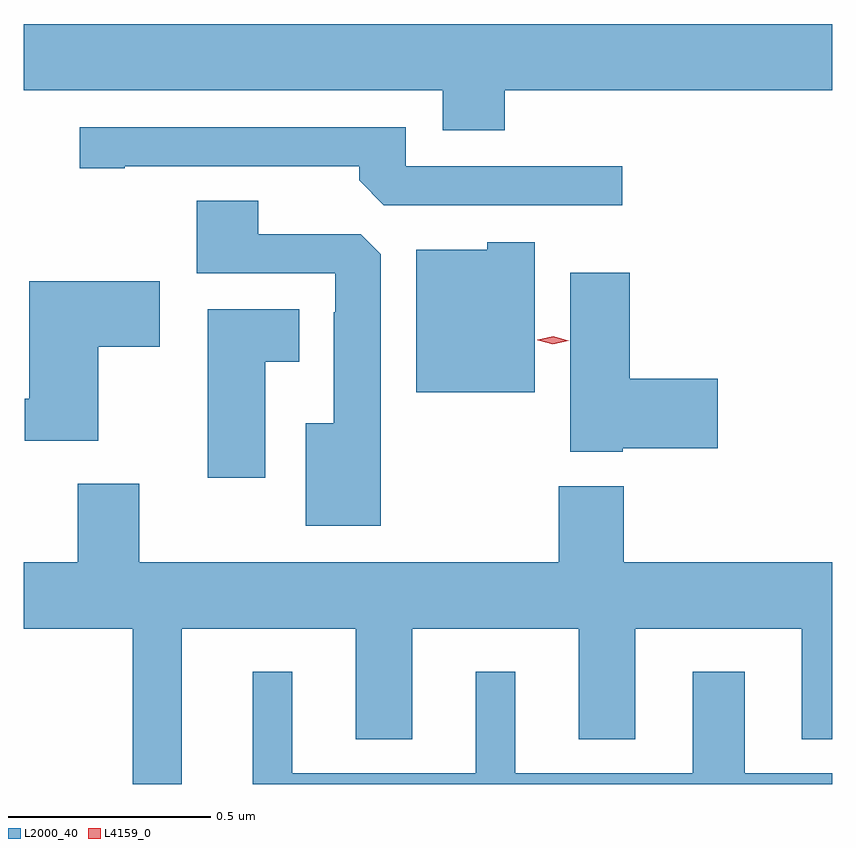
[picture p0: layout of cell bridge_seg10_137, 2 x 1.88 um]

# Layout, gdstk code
import gdstk
lib = gdstk.Library(unit=1e-6, precision=1e-09)
def P(c, l, *ps):  # polygons
    for p in ps: c.add(gdstk.Polygon(p, *l))
L2000_40 = (2000, 40)
L4159_0 = (4159, 0)

bridge_seg10_137 = lib.new_cell('bridge_seg10_137')
P(bridge_seg10_137, L2000_40, [(351.002,1269.68),(351.812,1269.68),(351.812,1269.844),(349.812,1269.844),(349.812,1269.68),(350.849,1269.68),(350.849,1269.581),(351.002,1269.581)],
  [(351.292,1269.492),(350.757,1269.492),(350.757,1269.588),(349.95,1269.588),(349.95,1269.487),(350.062,1269.487),(350.062,1269.492),(350.642,1269.492),(350.642,1269.458),(350.703,1269.396),(351.292,1269.396)],
  [(350.695,1269.275),(350.646,1269.324),(350.392,1269.324),(350.392,1269.407),(350.24,1269.407),(350.24,1269.228),(350.583,1269.228),(350.583,1269.131),(350.579,1269.131),(350.579,1268.857),(350.51,1268.857),(350.51,1268.603),(350.695,1268.603)],
  [(351.076,1269.304),(350.958,1269.304),(350.958,1269.286),(350.783,1269.286),(350.783,1268.933),(351.076,1268.933)],
  [(351.294,1268.795),(351.529,1268.795),(351.529,1268.966),(351.311,1268.966),(351.311,1269.229),(351.164,1269.229),(351.164,1268.786),(351.294,1268.786)],
  [(349.996,1269.046),(350.149,1269.046),(350.149,1269.208),(349.826,1269.208),(349.826,1268.917),(349.814,1268.917),(349.814,1268.813),(349.996,1268.813)],
  [(350.41,1269.008),(350.494,1269.008),(350.494,1269.139),(350.267,1269.139),(350.267,1268.721),(350.41,1268.721)],
  [(350.203,1268.348),(350.633,1268.348),(350.633,1268.075),(350.773,1268.075),(350.773,1268.348),(351.185,1268.348),(351.185,1268.075),(351.325,1268.075),(351.325,1268.348),(351.737,1268.348),(351.737,1268.075),(351.812,1268.075),(351.812,1268.512),(351.296,1268.512),(351.296,1268.701),(351.136,1268.701),(351.136,1268.512),(350.098,1268.512),(350.098,1268.707),(349.946,1268.707),(349.946,1268.512),(349.812,1268.512),(349.812,1268.348),(350.082,1268.348),(350.082,1267.964),(350.203,1267.964)],
  [(351.812,1267.99),(351.595,1267.99),(351.595,1268.242),(351.467,1268.242),(351.467,1267.99),(351.028,1267.99),(351.028,1268.242),(350.93,1268.242),(350.93,1267.99),(350.476,1267.99),(350.476,1268.242),(350.378,1268.242),(350.378,1267.964),(351.812,1267.964)])
P(bridge_seg10_137, L4159_0, [(351.121,1269.052),(351.083,1269.062),(351.082,1269.063),(351.083,1269.063),(351.122,1269.072),(351.16,1269.061),(351.16,1269.061),(351.16,1269.06)])

lib.write_gds('bridge_seg10_137.gds')
